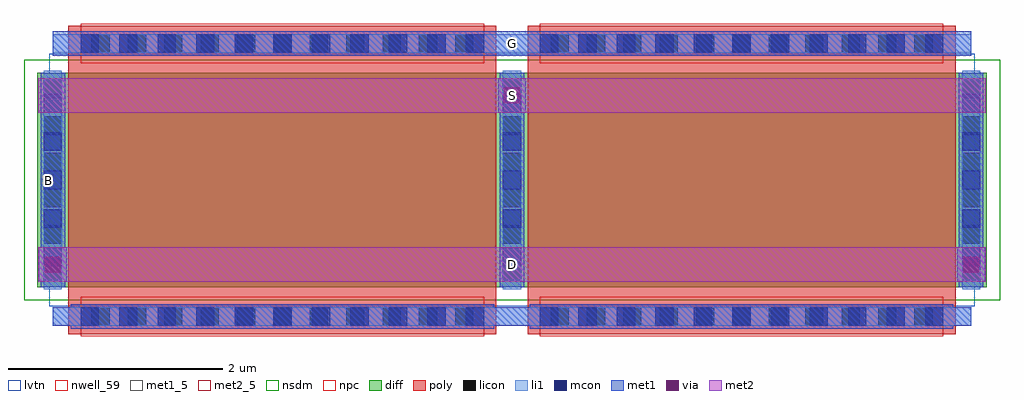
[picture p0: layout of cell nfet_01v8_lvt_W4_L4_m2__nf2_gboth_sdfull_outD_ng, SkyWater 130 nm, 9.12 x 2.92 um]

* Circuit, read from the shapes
.subckt nfet_01v8_lvt_W4_L4_m2__nf2_gboth_sdfull_outD_ng B D G S
XM1 S G D B sky130_fd_pr__nfet_01v8_lvt w=2 l=4 m=2
.ends

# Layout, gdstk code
import gdstk
lib = gdstk.Library(unit=1e-6, precision=1e-09)
def R(c, l, rs):  # rectangles x0, y0, x1, y1
    for r in rs: c.add(gdstk.rectangle(r[:2], r[2:], *l))
def A(c, l, x, y, w, h, nx, ny, dx, dy):  # array of equal rectangles
    R(c, l, [(x+i*dx, y+j*dy, x+i*dx+w, y+j*dy+h) for i in range(nx) for j in range(ny)])
nwell_59 = (64, 59)
diff = (65, 20)
poly = (66, 20)
licon = (66, 44)
li1 = (67, 20)
mcon = (67, 44)
met1_5 = (68, 5)
met1 = (68, 20)
via = (68, 44)
met2_5 = (69, 5)
met2 = (69, 20)
nsdm = (93, 44)
npc = (95, 20)
lvtn = (125, 44)

sky130_fd_pr__nfet_01v8_ = lib.new_cell('sky130_fd_pr__nfet_01v8_lvt_E4VDFV')
R(sky130_fd_pr__nfet_01v8_, diff, [(-4.435,-1,4.435,1)])
R(sky130_fd_pr__nfet_01v8_, poly, [(-4.145,-1.44,-0.145,1.44), (0.145,-1.44,4.145,1.44)])
A(sky130_fd_pr__nfet_01v8_, licon, -3.93, -1.36, 0.17, 0.17, 11, 2, 0.34, 2.55)
A(sky130_fd_pr__nfet_01v8_, licon, 0.36, -1.36, 0.17, 0.17, 11, 2, 0.34, 2.55)
A(sky130_fd_pr__nfet_01v8_, licon, -4.375, -0.935, 0.17, 0.17, 3, 6, 4.29, 0.34)
A(sky130_fd_pr__nfet_01v8_, li1, -4.375, -1.02, 0.17, 2.04, 3, 1, 4.29, 0)
R(sky130_fd_pr__nfet_01v8_, li1, [(-4.29,-1.36,4.29,-1.19), (-4.29,1.19,4.29,1.36)])
A(sky130_fd_pr__nfet_01v8_, mcon, -4.03, -1.36, 0.17, 0.17, 11, 2, 0.36, 2.55)
A(sky130_fd_pr__nfet_01v8_, mcon, 0.26, -1.36, 0.17, 0.17, 11, 2, 0.36, 2.55)
A(sky130_fd_pr__nfet_01v8_, mcon, -4.375, -0.805, 0.17, 0.17, 3, 5, 4.29, 0.36)
A(sky130_fd_pr__nfet_01v8_, met1, -4.405, -1, 0.23, 2, 3, 1, 4.29, 0)
R(sky130_fd_pr__nfet_01v8_, met1, [(-4.125,-1.39,-0.165,-1.36), (0.165,-1.39,4.125,-1.36), (-4.29,-1.36,4.29,-1.19), (-4.125,-1.19,-0.165,-1.16), (0.165,-1.19,4.125,-1.16), (-4.125,1.16,-0.165,1.19), (0.165,1.16,4.125,1.19), (-4.29,1.19,4.29,1.36), (-4.125,1.36,-0.165,1.39), (0.165,1.36,4.125,1.39)])
R(sky130_fd_pr__nfet_01v8_, nsdm, [(-4.56,-1.125,4.56,1.125)])
R(sky130_fd_pr__nfet_01v8_, npc, [(-4.03,-1.46,-0.26,-1.09), (0.26,-1.46,4.03,-1.09), (-4.03,1.09,-0.26,1.46), (0.26,1.09,4.03,1.46)])
R(sky130_fd_pr__nfet_01v8_, lvtn, [(-4.325,-1.18,4.325,1.18)])
sky130_fd_pr__nfet_01v8_.add(gdstk.Label('D0', (-4.29,0), layer=67, texttype=5))
sky130_fd_pr__nfet_01v8_.add(gdstk.Label('G', (2.145,1.275), layer=67, texttype=5))
sky130_fd_pr__nfet_01v8_.add(gdstk.Label('G', (-2.145,1.275), layer=67, texttype=5))
sky130_fd_pr__nfet_01v8_.add(gdstk.Label('S1', (0,0), layer=67, texttype=5))

nfet_01v8_lvt_w4_l4_m2__ = lib.new_cell('nfet_01v8_lvt_W4_L4_m2__nf2_gboth_sdfull_outD_ng')
R(nfet_01v8_lvt_w4_l4_m2__, nwell_59, [(0.05,1.39,0.15,1.49)])
R(nfet_01v8_lvt_w4_l4_m2__, met1_5, [(0.145,2.6,8.725,2.83)])
R(nfet_01v8_lvt_w4_l4_m2__, met1, [(0.015,0.49,0.275,0.81), (8.595,0.49,8.855,0.81), (4.305,2.07,4.565,2.39), (0.145,2.6,8.725,2.83)])
R(nfet_01v8_lvt_w4_l4_m2__, via, [(0.07,0.575,0.22,0.725), (8.65,0.575,8.8,0.725), (4.36,2.155,4.51,2.305)])
R(nfet_01v8_lvt_w4_l4_m2__, met2_5, [(0.01,0.49,8.86,0.81), (0.01,2.07,8.86,2.39)])
R(nfet_01v8_lvt_w4_l4_m2__, met2, [(0.01,0.49,8.86,0.81), (0.01,2.07,8.86,2.39)])
nfet_01v8_lvt_w4_l4_m2__.add(gdstk.Reference(sky130_fd_pr__nfet_01v8_, (4.435,1.44)))
nfet_01v8_lvt_w4_l4_m2__.add(gdstk.Label('S', (4.435,2.23), layer=69, texttype=5))
nfet_01v8_lvt_w4_l4_m2__.add(gdstk.Label('D', (4.435,0.65), layer=69, texttype=5))
nfet_01v8_lvt_w4_l4_m2__.add(gdstk.Label('G', (4.435,2.715), layer=68, texttype=5))
nfet_01v8_lvt_w4_l4_m2__.add(gdstk.Label('B', (0.1,1.44), layer=64, texttype=59))

lib.write_gds('nfet_01v8_lvt_W4_L4_m2__nf2_gboth_sdfull_outD_ng.gds')
